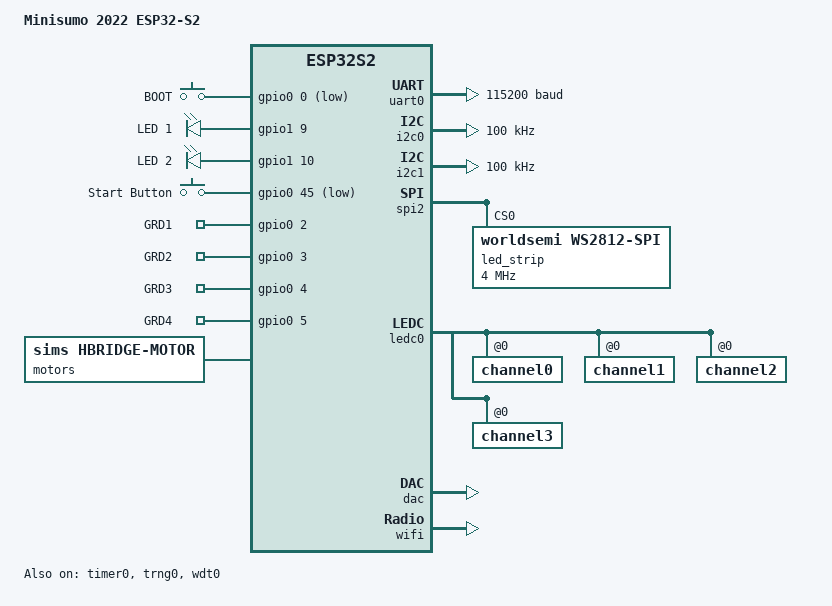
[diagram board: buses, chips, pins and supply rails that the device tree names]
/dts-v1/;

#include <espressif/esp32s2/esp32s2_wrover_n4r2.dtsi>
#include "sumo_6-pinctrl.dtsi"
#include <zephyr/dt-bindings/input/input-event-codes.h>
#include <zephyr/dt-bindings/led/led.h>
#include <zephyr/dt-bindings/pwm/pwm.h>
#include <espressif/partitions_0x1000_default.dtsi>

/ {
    model = "Minisumo 2022 ESP32-S2";
    compatible = "sims,sumo_6";

    aliases {
        uart-0 = &uart0;
        i2c-0 = &i2c0;
        i2c-1 = &i2c1;
        sw0 = &start_button;
        led0 = &led_1;
        led1 = &led_2;
        watchdog0 = &wdt0;
        led-strip = &led_strip;
    };

    chosen {
        zephyr,sram = &sram0;
        zephyr,console = &uart0;
        zephyr,shell-uart = &uart0;
        zephyr,flash = &flash0;
		zephyr,code-partition = &slot0_partition;
    };

    gpio_keys {
		compatible = "gpio-keys";

		user_button: user_button {
			label = "BOOT";
			gpios = <&gpio0 0 (GPIO_PULL_UP | GPIO_ACTIVE_LOW)>;
			zephyr,code = <INPUT_KEY_0>;
		};
	};

    leds {
        compatible = "gpio-leds";
        led_1: led_1 {
            gpios = <&gpio1 9 GPIO_ACTIVE_HIGH>;  /* IO41 */
            label = "LED 1";
        };
        led_2: led_2 {
            gpios = <&gpio1 10 GPIO_ACTIVE_HIGH>; /* IO42 */
            label = "LED 2";
        };
    };

    buttons {
        compatible = "gpio-keys";
        start_button: start_button {
            gpios = <&gpio0 45 (GPIO_PULL_UP | GPIO_ACTIVE_LOW)>;
            label = "Start Button";
        };
    };

    sensors {
        compatible = "gpio-keys";
        grd1: grd_1 { gpios = <&gpio0 2 GPIO_ACTIVE_HIGH>; label = "GRD1"; };
        grd2: grd_2 { gpios = <&gpio0 3 GPIO_ACTIVE_HIGH>; label = "GRD2"; };
        grd3: grd_3 { gpios = <&gpio0 4 GPIO_ACTIVE_HIGH>; label = "GRD3"; };
        grd4: grd_4 { gpios = <&gpio0 5 GPIO_ACTIVE_HIGH>; label = "GRD4"; };
    };
    
    motors {
        compatible = "sims,hbridge-motor";

        motor1: motor1 {
            label = "MOTOR1";
            pwms = <&ledc0 0 2000000 PWM_POLARITY_NORMAL>,
                   <&ledc0 1 2000000 PWM_POLARITY_NORMAL>;
            pwm-names = "l1", "r1";

            l2-gpios = <&gpio1 2 GPIO_ACTIVE_HIGH>;
            r2-gpios = <&gpio1 4 GPIO_ACTIVE_HIGH>;
        };

        motor2: motor2 {
            label = "MOTOR2";
            pwms = <&ledc0 2 2000000 PWM_POLARITY_NORMAL>,
                   <&ledc0 3 2000000 PWM_POLARITY_NORMAL>;
            pwm-names = "l1", "r1";

            l2-gpios = <&gpio1 6 GPIO_ACTIVE_HIGH>;
            r2-gpios = <&gpio1 8 GPIO_ACTIVE_HIGH>;
        };

        // mot1_l1: mot1_l1 { gpios = <&gpio1 1 GPIO_ACTIVE_HIGH>; }; /* IO33 */
        // mot1_l2: mot1_l2 { gpios = <&gpio1 2 GPIO_ACTIVE_HIGH>; }; /* IO34 */
        // mot1_r1: mot1_r1 { gpios = <&gpio1 3 GPIO_ACTIVE_HIGH>; }; /* IO35 */
        // mot1_r2: mot1_r2 { gpios = <&gpio1 4 GPIO_ACTIVE_HIGH>; }; /* IO36 */
        // mot2_l1: mot2_l1 { gpios = <&gpio1 5 GPIO_ACTIVE_HIGH>; }; /* IO37 */
        // mot2_l2: mot2_l2 { gpios = <&gpio1 6 GPIO_ACTIVE_HIGH>; }; /* IO38 */
        // mot2_r1: mot2_r1 { gpios = <&gpio1 7 GPIO_ACTIVE_HIGH>; }; /* IO39 */
        // mot2_r2: mot2_r2 { gpios = <&gpio1 8 GPIO_ACTIVE_HIGH>; }; /* IO40 */
    };
};

&uart0 {
    status = "okay";
    current-speed = <115200>;
    pinctrl-0 = <&uart0_default>;
    pinctrl-names = "default";
};

&gpio0 {
	status = "okay";
};

&gpio1 {
	status = "okay";
};

&timer0 {
	status = "okay";
};

&timer1 {
	status = "disabled";
};

&timer2 {
	status = "disabled";
};

&timer3 {
	status = "disabled";
};

&i2c0 {
    status = "okay";
    clock-frequency = <I2C_BITRATE_STANDARD>;
    pinctrl-0 = <&i2c0_default>;
    pinctrl-names = "default";
};

&i2c1 {
    status = "okay";
    clock-frequency = <I2C_BITRATE_STANDARD>;
    pinctrl-0 = <&i2c1_default>;
    pinctrl-names = "default";
};

&spi2 {
    #address-cells = <1>;
    #size-cells = <0>;

    status = "okay";
    line-idle-low;
    pinctrl-0 = <&spim2_default>;
    pinctrl-names = "default";

    led_strip: ws2812@0 {
        compatible = "worldsemi,ws2812-spi";
        reg = <0>;
        spi-max-frequency = <4000000>;

        chain-length = <1>;
        color-mapping = <LED_COLOR_ID_GREEN>,
                        <LED_COLOR_ID_RED>,
                        <LED_COLOR_ID_BLUE>;
        spi-one-frame = <0x70>;
        spi-zero-frame = <0x40>;
    };
};

&ledc0 {
	pinctrl-0 = <&ledc0_default>;
	pinctrl-names = "default";
	status = "okay";
	#address-cells = <1>;
	#size-cells = <0>;

	channel0@0 {
		reg = <0x0>;
		timer = <0>;
	};
	channel1@1 {
		reg = <0x0>;
		timer = <0>;
	};
	channel2@2 {
		reg = <0x0>;
		timer = <0>;
	};
	channel3@3 {
		reg = <0x0>;
		timer = <0>;
	};
};


&trng0 {
	status = "okay";
};

&wdt0 {
	status = "okay";
};

&dac {
	status = "okay";
};

&wifi {
	status = "okay";
};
